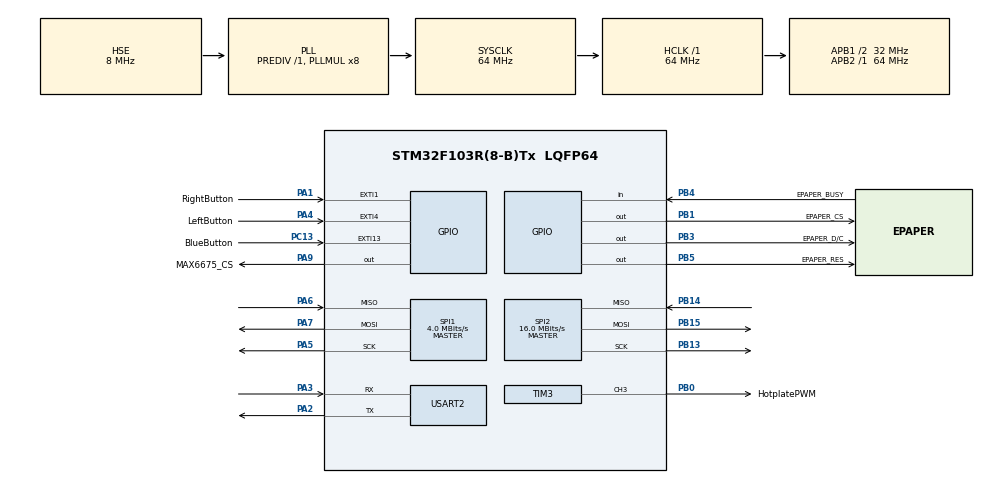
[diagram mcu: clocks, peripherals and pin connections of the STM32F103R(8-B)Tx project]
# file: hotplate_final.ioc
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ADC1.Channel-0\#ChannelRegularConversion=ADC_CHANNEL_VREFINT
ADC1.NbrOfConversionFlag=1
ADC1.Rank-0\#ChannelRegularConversion=1
ADC1.SamplingTime-0\#ChannelRegularConversion=ADC_SAMPLETIME_1CYCLE_5
ADC1.master=1
FREERTOS.BinarySemaphores01=console,Dynamic,NULL,Available
FREERTOS.Queues01=UARTin,11,uint8_t,0,Dynamic,NULL,NULL;UARTout,12,128,1,Dynamic,NULL,NULL;uptime,1,uint32_t,0,Dynamic,NULL,NULL;EpaperStatus,1,64,1,Dynamic,NULL,NULL;EpaperStatus2,1,64,1,Dynamic,NULL,NULL;EpaperStatus3,1,64,1,Dynamic,NULL,NULL
FREERTOS.Tasks01=UARTprint,8,256,StartUARTprint,Default,NULL,Dynamic,NULL,NULL;UARTinput,8,256,StartUARTinput,Default,NULL,Dynamic,NULL,NULL;Heartbeat,8,256,StartHeartbeat,Default,NULL,Dynamic,NULL,NULL;EpaperPrint,8,256,StartEpaperPrint,Default,NULL,Dynamic,NULL,NULL
FREERTOS.configTOTAL_HEAP_SIZE=9000
FREERTOS.configUSE_NEWLIB_REENTRANT=1
IWDG.Prescaler=IWDG_PRESCALER_64
IWDG.Reload=2500
Mcu.Family=STM32F1
Mcu.Name=STM32F103R(8-B)Tx
Mcu.Package=LQFP64
NVIC.EXTI15_10_IRQn=true\:5\:0\:false\:false\:true\:true\:true\:true\:true
NVIC.EXTI1_IRQn=true\:5\:0\:false\:false\:true\:true\:true\:true\:true
NVIC.EXTI4_IRQn=true\:5\:0\:false\:false\:true\:true\:true\:true\:true
NVIC.PriorityGroup=NVIC_PRIORITYGROUP_4
NVIC.TIM1_UP_IRQn=true\:15\:0\:false\:false\:true\:false\:false\:true\:true
NVIC.TIM2_IRQn=true\:5\:0\:false\:false\:true\:true\:true\:true\:true
NVIC.TimeBase=TIM1_UP_IRQn
NVIC.TimeBaseIP=TIM1
NVIC.USART2_IRQn=true\:5\:0\:false\:false\:true\:true\:true\:true\:true
PA1.GPIO_Label=RightButton
PA1.GPIO_ModeDefaultEXTI=GPIO_MODE_IT_RISING
PA1.GPIO_PuPd=GPIO_PULLUP
PA1.Signal=GPXTI1
PA13.Mode=Serial_Wire
PA13.Signal=SYS_JTMS-SWDIO
PA14.Mode=Serial_Wire
PA14.Signal=SYS_JTCK-SWCLK
PA2.Mode=Asynchronous
PA2.Signal=USART2_TX
PA3.Mode=Asynchronous
PA3.Signal=USART2_RX
PA4.GPIO_Label=LeftButton
PA4.GPIO_ModeDefaultEXTI=GPIO_MODE_IT_RISING
PA4.GPIO_PuPd=GPIO_PULLUP
PA4.Signal=GPXTI4
PA5.Mode=Full_Duplex_Master
PA5.Signal=SPI1_SCK
PA6.Mode=Full_Duplex_Master
PA6.Signal=SPI1_MISO
PA7.Mode=Full_Duplex_Master
PA7.Signal=SPI1_MOSI
PA9.GPIO_Label=MAX6675_CS
PA9.GPIO_PuPd=GPIO_PULLUP
PA9.GPIO_Speed=GPIO_SPEED_FREQ_HIGH
PA9.Signal=GPIO_Output
PB0.GPIO_Label=HotplatePWM
PB0.GPIO_Speed=GPIO_SPEED_FREQ_HIGH
PB0.Signal=S_TIM3_CH3
PB1.GPIO_Label=EPAPER_CS
PB1.GPIO_PuPd=GPIO_PULLUP
PB1.GPIO_Speed=GPIO_SPEED_FREQ_HIGH
PB1.Signal=GPIO_Output
PB13.Mode=Full_Duplex_Master
PB13.Signal=SPI2_SCK
PB14.Mode=Full_Duplex_Master
PB14.Signal=SPI2_MISO
PB15.Mode=Full_Duplex_Master
PB15.Signal=SPI2_MOSI
PB3.GPIO_Label=EPAPER_D/C
PB3.GPIO_PuPd=GPIO_PULLUP
PB3.GPIO_Speed=GPIO_SPEED_FREQ_HIGH
PB3.Signal=GPIO_Output
PB4.GPIO_Label=EPAPER_BUSY
PB4.GPIO_PuPd=GPIO_PULLUP
PB4.Signal=GPIO_Input
PB5.GPIO_Label=EPAPER_RES
PB5.GPIO_PuPd=GPIO_PULLUP
PB5.GPIO_Speed=GPIO_SPEED_FREQ_HIGH
PB5.Signal=GPIO_Output
PC13-TAMPER-RTC.GPIO_Label=BlueButton
PC13-TAMPER-RTC.GPIO_ModeDefaultEXTI=GPIO_MODE_IT_FALLING
PC13-TAMPER-RTC.GPIO_PuPd=GPIO_PULLUP
PC13-TAMPER-RTC.Signal=GPXTI13
PC14-OSC32_IN.Mode=LSE-External-Oscillator
PC14-OSC32_IN.Signal=RCC_OSC32_IN
PC15-OSC32_OUT.Mode=LSE-External-Oscillator
PC15-OSC32_OUT.Signal=RCC_OSC32_OUT
PD0-OSC_IN.Mode=HSE-External-Oscillator
PD0-OSC_IN.Signal=RCC_OSC_IN
PD1-OSC_OUT.Mode=HSE-External-Oscillator
PD1-OSC_OUT.Signal=RCC_OSC_OUT
ProjectManager.HeapSize=0x200
ProjectManager.StackSize=0x400
ProjectManager.TargetToolchain=STM32CubeIDE
RCC.ADCPresc=RCC_ADCPCLK2_DIV6
RCC.AHBFreq_Value=64000000
RCC.APB1CLKDivider=RCC_HCLK_DIV2
RCC.APB1Freq_Value=32000000
RCC.APB1TimFreq_Value=64000000
RCC.APB2Freq_Value=64000000
RCC.APB2TimFreq_Value=64000000
RCC.HCLKFreq_Value=64000000
RCC.PLLMUL=RCC_PLL_MUL8
RCC.PLLSourceVirtual=RCC_PLLSOURCE_HSE
RCC.SYSCLKFreq_VALUE=64000000
RCC.SYSCLKSource=RCC_SYSCLKSOURCE_PLLCLK
RCC.USBFreq_Value=64000000
SH.S_TIM3_CH3.0=TIM3_CH3,PWM Generation3 CH3
SPI1.BaudRatePrescaler=SPI_BAUDRATEPRESCALER_16
SPI1.CalculateBaudRate=4.0 MBits/s
SPI1.Direction=SPI_DIRECTION_2LINES
SPI1.Mode=SPI_MODE_MASTER
SPI1.VirtualType=VM_MASTER
SPI2.BaudRatePrescaler=SPI_BAUDRATEPRESCALER_2
SPI2.CLKPhase=SPI_PHASE_2EDGE
SPI2.CLKPolarity=SPI_POLARITY_HIGH
SPI2.CalculateBaudRate=16.0 MBits/s
SPI2.Direction=SPI_DIRECTION_2LINES
SPI2.Mode=SPI_MODE_MASTER
SPI2.VirtualType=VM_MASTER
TIM2.Period=499
TIM2.Prescaler=63999
TIM3.Channel-PWM\ Generation3\ CH3=TIM_CHANNEL_3
TIM3.Period=499
TIM3.Prescaler=63999
USART2.VirtualMode=VM_ASYNC
VP_ADC1_TempSens_Input.Mode=IN-TempSens
VP_ADC1_Vref_Input.Mode=IN-Vrefint
VP_FREERTOS_VS_CMSIS_V2.Mode=CMSIS_V2
VP_IWDG_VS_IWDG.Mode=IWDG_Activate
VP_SYS_VS_tim1.Mode=TIM1
VP_TIM2_VS_ClockSourceINT.Mode=Internal
VP_TIM3_VS_ClockSourceINT.Mode=Internal
board=custom

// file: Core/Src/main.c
/* USER CODE BEGIN Header */
/**
 * @file main.c
 * @brief Main entry point and application control.
 *
 * This file serves as the primary entry point for the application. It is responsible for:
 * - Initializing hardware and peripherals (e.g., UART, ADC, timers, GPIOs).
 * - Setting up the operating system (e.g., thread creation, message queues, semaphores).
 * - Providing callbacks for hardware interrupts and timer events.
 * - Launching the main application loops and managing system tasks such as heartbeat,
 *   e-paper display updates, and UART communication.
 *
 * The application is developed for an STM32 microcontroller using CubeIDE. It integrates
 * multiple modules, including CLI for user interaction, ADC for sensor readings, e-paper display
 * for output, and a simple neural control for managing heater duty cycles.
 *
 * @note Ensure that all peripheral initializations and system tasks are appropriately
 *       configured before entering the main loop.
 *
 * Hardware connections:
 * - **Left Button:** GPIO (PA4)
 * - **Right Button:** GPIO (PA1)
 * - **GND:** Ground
 *
 * @author Matthew Ross 200265265
 *
 * @version 1.0
 * @date    17apr2025
 */
/* USER CODE END Header */
#include "main.h"
#include "cmsis_os.h"

/* USER CODE BEGIN Includes */
#include "cli.h"    // console, heartbeat, status, myprintf
#include "string.h" // strlen in UARTprint task
#include "epaper.h" // epaper print
#include "epaper_ctl.h" // epaper print
/* USER CODE END Includes */

ADC_HandleTypeDef hadc1;

IWDG_HandleTypeDef hiwdg;

SPI_HandleTypeDef hspi1;
SPI_HandleTypeDef hspi2;

TIM_HandleTypeDef htim2;
TIM_HandleTypeDef htim3;

UART_HandleTypeDef huart2;

/* Definitions for UARTprint */
osThreadId_t UARTprintHandle;
const osThreadAttr_t UARTprint_attributes = {
  .name = "UARTprint",
  .stack_size = 256 * 4,
  .priority = (osPriority_t) osPriorityLow,
};
/* Definitions for UARTinput */
osThreadId_t UARTinputHandle;
const osThreadAttr_t UARTinput_attributes = {
  .name = "UARTinput",
  .stack_size = 256 * 4,
  .priority = (osPriority_t) osPriorityLow,
};
/* Definitions for Heartbeat */
osThreadId_t HeartbeatHandle;
const osThreadAttr_t Heartbeat_attributes = {
  .name = "Heartbeat",
  .stack_size = 256 * 4,
  .priority = (osPriority_t) osPriorityLow,
};
/* Definitions for EpaperPrint */
osThreadId_t EpaperPrintHandle;
const osThreadAttr_t EpaperPrint_attributes = {
  .name = "EpaperPrint",
  .stack_size = 256 * 4,
  .priority = (osPriority_t) osPriorityLow,
};
/* Definitions for UARTin */
osMessageQueueId_t UARTinHandle;
const osMessageQueueAttr_t UARTin_attributes = {
  .name = "UARTin"
};
/* Definitions for UARTout */
osMessageQueueId_t UARToutHandle;
const osMessageQueueAttr_t UARTout_attributes = {
  .name = "UARTout"
};
/* Definitions for uptime */
osMessageQueueId_t uptimeHandle;
const osMessageQueueAttr_t uptime_attributes = {
  .name = "uptime"
};
/* Definitions for EpaperStatus */
osMessageQueueId_t EpaperStatusHandle;
const osMessageQueueAttr_t EpaperStatus_attributes = {
  .name = "EpaperStatus"
};
/* Definitions for EpaperStatus2 */
osMessageQueueId_t EpaperStatus2Handle;
const osMessageQueueAttr_t EpaperStatus2_attributes = {
  .name = "EpaperStatus2"
};
/* Definitions for EpaperStatus3 */
osMessageQueueId_t EpaperStatus3Handle;
const osMessageQueueAttr_t EpaperStatus3_attributes = {
  .name = "EpaperStatus3"
};
/* Definitions for console */
osSemaphoreId_t consoleHandle;
const osSemaphoreAttr_t console_attributes = {
  .name = "console"
};
/* USER CODE BEGIN PV */

uint8_t input;                // Store received character
uint8_t uptime = 0;           // Store uptime counter
uint8_t minutes = 0;          // Store uptime minutes counter
uint8_t hours = 0;            // Store uptime hours counter
uint16_t days = 0;            // Store uptime days counter
uint8_t target = 0;           // Hotplate target temperature
extern uint8_t image_bw[EPD_W_BUFF_SIZE * EPD_H];
extern uint8_t clearPaper;

/* USER CODE END PV */

void SystemClock_Config(void);
static void MX_GPIO_Init(void);
static void MX_TIM2_Init(void);
static void MX_USART2_UART_Init(void);
static void MX_ADC1_Init(void);
static void MX_SPI1_Init(void);
static void MX_SPI2_Init(void);
static void MX_TIM3_Init(void);
static void MX_IWDG_Init(void);
void StartUARTprint(void *argument);
void StartUARTinput(void *argument);
void StartHeartbeat(void *argument);
void StartEpaperPrint(void *argument);

int main(void)
{

  /* MCU Configuration--------------------------------------------------------*/

  /* Reset of all peripherals, Initializes the Flash interface and the Systick. */
  HAL_Init();

  /* Configure the system clock */
  SystemClock_Config();

  /* Initialize all configured peripherals */
  MX_GPIO_Init();
  MX_TIM2_Init();
  MX_USART2_UART_Init();
  MX_ADC1_Init();
  MX_SPI1_Init();
  MX_SPI2_Init();
  MX_TIM3_Init();
  MX_IWDG_Init();

  /* Init scheduler */
  osKernelInitialize();

  /* Create the semaphores(s) */
  /* creation of console */
  consoleHandle = osSemaphoreNew(1, 1, &console_attributes);

  /* Create the queue(s) */
  /* creation of UARTin */
  UARTinHandle = osMessageQueueNew (11, sizeof(uint8_t), &UARTin_attributes);

  /* creation of UARTout */
  UARToutHandle = osMessageQueueNew (12, 128, &UARTout_attributes);

  /* creation of uptime */
  uptimeHandle = osMessageQueueNew (1, sizeof(uint32_t), &uptime_attributes);

  /* creation of EpaperStatus */
  EpaperStatusHandle = osMessageQueueNew (1, 64, &EpaperStatus_attributes);

  /* creation of EpaperStatus2 */
  EpaperStatus2Handle = osMessageQueueNew (1, 64, &EpaperStatus2_attributes);

  /* creation of EpaperStatus3 */
  EpaperStatus3Handle = osMessageQueueNew (1, 64, &EpaperStatus3_attributes);

  /* Create the thread(s) */
  /* creation of UARTprint */
  UARTprintHandle = osThreadNew(StartUARTprint, NULL, &UARTprint_attributes);

  /* creation of UARTinput */
  UARTinputHandle = osThreadNew(StartUARTinput, NULL, &UARTinput_attributes);

  /* creation of Heartbeat */
  HeartbeatHandle = osThreadNew(StartHeartbeat, NULL, &Heartbeat_attributes);

  /* creation of EpaperPrint */
  EpaperPrintHandle = osThreadNew(StartEpaperPrint, NULL, &EpaperPrint_attributes);

  /* Start scheduler */
  osKernelStart();

  /* We should never get here as control is now taken by the scheduler */

  /* Infinite loop */
  while (1) {

  }
}

void SystemClock_Config(void)
{
  RCC_OscInitTypeDef RCC_OscInitStruct = {0};
  RCC_ClkInitTypeDef RCC_ClkInitStruct = {0};
  RCC_PeriphCLKInitTypeDef PeriphClkInit = {0};

  /** Initializes the RCC Oscillators according to the specified parameters
  * in the RCC_OscInitTypeDef structure.
  */
  RCC_OscInitStruct.OscillatorType = RCC_OSCILLATORTYPE_LSI|RCC_OSCILLATORTYPE_HSE;
  RCC_OscInitStruct.HSEState = RCC_HSE_ON;
  RCC_OscInitStruct.HSEPredivValue = RCC_HSE_PREDIV_DIV1;
  RCC_OscInitStruct.HSIState = RCC_HSI_ON;
  RCC_OscInitStruct.LSIState = RCC_LSI_ON;
  RCC_OscInitStruct.PLL.PLLState = RCC_PLL_ON;
  RCC_OscInitStruct.PLL.PLLSource = RCC_PLLSOURCE_HSE;
  RCC_OscInitStruct.PLL.PLLMUL = RCC_PLL_MUL8;
  if (HAL_RCC_OscConfig(&RCC_OscInitStruct) != HAL_OK)
  {
    Error_Handler();
  }

  /** Initializes the CPU, AHB and APB buses clocks
  */
  RCC_ClkInitStruct.ClockType = RCC_CLOCKTYPE_HCLK|RCC_CLOCKTYPE_SYSCLK
                              |RCC_CLOCKTYPE_PCLK1|RCC_CLOCKTYPE_PCLK2;
  RCC_ClkInitStruct.SYSCLKSource = RCC_SYSCLKSOURCE_PLLCLK;
  RCC_ClkInitStruct.AHBCLKDivider = RCC_SYSCLK_DIV1;
  RCC_ClkInitStruct.APB1CLKDivider = RCC_HCLK_DIV2;
  RCC_ClkInitStruct.APB2CLKDivider = RCC_HCLK_DIV1;

  if (HAL_RCC_ClockConfig(&RCC_ClkInitStruct, FLASH_LATENCY_2) != HAL_OK)
  {
    Error_Handler();
  }
  PeriphClkInit.PeriphClockSelection = RCC_PERIPHCLK_ADC;
  PeriphClkInit.AdcClockSelection = RCC_ADCPCLK2_DIV6;
  if (HAL_RCCEx_PeriphCLKConfig(&PeriphClkInit) != HAL_OK)
  {
    Error_Handler();
  }
}

static void MX_ADC1_Init(void)
{

  ADC_ChannelConfTypeDef sConfig = {0};

  /** Common config
  */
  hadc1.Instance = ADC1;
  hadc1.Init.ScanConvMode = ADC_SCAN_DISABLE;
  hadc1.Init.ContinuousConvMode = DISABLE;
  hadc1.Init.DiscontinuousConvMode = DISABLE;
  hadc1.Init.ExternalTrigConv = ADC_SOFTWARE_START;
  hadc1.Init.DataAlign = ADC_DATAALIGN_RIGHT;
  hadc1.Init.NbrOfConversion = 1;
  if (HAL_ADC_Init(&hadc1) != HAL_OK)
  {
    Error_Handler();
  }

  /** Configure Regular Channel
  */
  sConfig.Channel = ADC_CHANNEL_VREFINT;
  sConfig.Rank = ADC_REGULAR_RANK_1;
  sConfig.SamplingTime = ADC_SAMPLETIME_1CYCLE_5;
  if (HAL_ADC_ConfigChannel(&hadc1, &sConfig) != HAL_OK)
  {
    Error_Handler();
  }

}

static void MX_IWDG_Init(void)
{

  hiwdg.Instance = IWDG;
  hiwdg.Init.Prescaler = IWDG_PRESCALER_64;
  hiwdg.Init.Reload = 2500;
  if (HAL_IWDG_Init(&hiwdg) != HAL_OK)
  {
    Error_Handler();
  }

}

static void MX_SPI1_Init(void)
{

  /* SPI1 parameter configuration*/
  hspi1.Instance = SPI1;
  hspi1.Init.Mode = SPI_MODE_MASTER;
  hspi1.Init.Direction = SPI_DIRECTION_2LINES;
  hspi1.Init.DataSize = SPI_DATASIZE_8BIT;
  hspi1.Init.CLKPolarity = SPI_POLARITY_LOW;
  hspi1.Init.CLKPhase = SPI_PHASE_1EDGE;
  hspi1.Init.NSS = SPI_NSS_SOFT;
  hspi1.Init.BaudRatePrescaler = SPI_BAUDRATEPRESCALER_16;
  hspi1.Init.FirstBit = SPI_FIRSTBIT_MSB;
  hspi1.Init.TIMode = SPI_TIMODE_DISABLE;
  hspi1.Init.CRCCalculation = SPI_CRCCALCULATION_DISABLE;
  hspi1.Init.CRCPolynomial = 10;
  if (HAL_SPI_Init(&hspi1) != HAL_OK)
  {
    Error_Handler();
  }

}

static void MX_SPI2_Init(void)
{

  /* SPI2 parameter configuration*/
  hspi2.Instance = SPI2;
  hspi2.Init.Mode = SPI_MODE_MASTER;
  hspi2.Init.Direction = SPI_DIRECTION_2LINES;
  hspi2.Init.DataSize = SPI_DATASIZE_8BIT;
  hspi2.Init.CLKPolarity = SPI_POLARITY_HIGH;
  hspi2.Init.CLKPhase = SPI_PHASE_2EDGE;
  hspi2.Init.NSS = SPI_NSS_SOFT;
  hspi2.Init.BaudRatePrescaler = SPI_BAUDRATEPRESCALER_2;
  hspi2.Init.FirstBit = SPI_FIRSTBIT_MSB;
  hspi2.Init.TIMode = SPI_TIMODE_DISABLE;
  hspi2.Init.CRCCalculation = SPI_CRCCALCULATION_DISABLE;
  hspi2.Init.CRCPolynomial = 10;
  if (HAL_SPI_Init(&hspi2) != HAL_OK)
  {
    Error_Handler();
  }

}

static void MX_TIM2_Init(void)
{

  TIM_ClockConfigTypeDef sClockSourceConfig = {0};
  TIM_MasterConfigTypeDef sMasterConfig = {0};

  htim2.Instance = TIM2;
  htim2.Init.Prescaler = 63999;
  htim2.Init.CounterMode = TIM_COUNTERMODE_UP;
  htim2.Init.Period = 499;
  htim2.Init.ClockDivision = TIM_CLOCKDIVISION_DIV1;
  htim2.Init.AutoReloadPreload = TIM_AUTORELOAD_PRELOAD_DISABLE;
  if (HAL_TIM_Base_Init(&htim2) != HAL_OK)
  {
    Error_Handler();
  }
  sClockSourceConfig.ClockSource = TIM_CLOCKSOURCE_INTERNAL;
  if (HAL_TIM_ConfigClockSource(&htim2, &sClockSourceConfig) != HAL_OK)
  {
    Error_Handler();
  }
  sMasterConfig.MasterOutputTrigger = TIM_TRGO_RESET;
  sMasterConfig.MasterSlaveMode = TIM_MASTERSLAVEMODE_DISABLE;
  if (HAL_TIMEx_MasterConfigSynchronization(&htim2, &sMasterConfig) != HAL_OK)
  {
    Error_Handler();
  }
  /* USER CODE BEGIN TIM2_Init 2 */
  HAL_TIM_Base_Start_IT(&htim2);
  /* USER CODE END TIM2_Init 2 */

}

static void MX_TIM3_Init(void)
{

  TIM_ClockConfigTypeDef sClockSourceConfig = {0};
  TIM_MasterConfigTypeDef sMasterConfig = {0};
  TIM_OC_InitTypeDef sConfigOC = {0};

  htim3.Instance = TIM3;
  htim3.Init.Prescaler = 63999;
  htim3.Init.CounterMode = TIM_COUNTERMODE_UP;
  htim3.Init.Period = 499;
  htim3.Init.ClockDivision = TIM_CLOCKDIVISION_DIV1;
  htim3.Init.AutoReloadPreload = TIM_AUTORELOAD_PRELOAD_DISABLE;
  if (HAL_TIM_Base_Init(&htim3) != HAL_OK)
  {
    Error_Handler();
  }
  sClockSourceConfig.ClockSource = TIM_CLOCKSOURCE_INTERNAL;
  if (HAL_TIM_ConfigClockSource(&htim3, &sClockSourceConfig) != HAL_OK)
  {
    Error_Handler();
  }
  if (HAL_TIM_PWM_Init(&htim3) != HAL_OK)
  {
    Error_Handler();
  }
  sMasterConfig.MasterOutputTrigger = TIM_TRGO_RESET;
  sMasterConfig.MasterSlaveMode = TIM_MASTERSLAVEMODE_DISABLE;
  if (HAL_TIMEx_MasterConfigSynchronization(&htim3, &sMasterConfig) != HAL_OK)
  {
    Error_Handler();
  }
  sConfigOC.OCMode = TIM_OCMODE_PWM1;
  sConfigOC.Pulse = 0;
  sConfigOC.OCPolarity = TIM_OCPOLARITY_HIGH;
  sConfigOC.OCFastMode = TIM_OCFAST_DISABLE;
  if (HAL_TIM_PWM_ConfigChannel(&htim3, &sConfigOC, TIM_CHANNEL_3) != HAL_OK)
  {
    Error_Handler();
  }
  HAL_TIM_MspPostInit(&htim3);

}

static void MX_USART2_UART_Init(void)
{

  huart2.Instance = USART2;
  huart2.Init.BaudRate = 115200;
  huart2.Init.WordLength = UART_WORDLENGTH_8B;
  huart2.Init.StopBits = UART_STOPBITS_1;
  huart2.Init.Parity = UART_PARITY_NONE;
  huart2.Init.Mode = UART_MODE_TX_RX;
  huart2.Init.HwFlowCtl = UART_HWCONTROL_NONE;
  huart2.Init.OverSampling = UART_OVERSAMPLING_16;
  if (HAL_UART_Init(&huart2) != HAL_OK)
  {
    Error_Handler();
  }
  /* USER CODE BEGIN USART2_Init 2 */
  HAL_UART_Receive_IT(&huart2, &input, 1); // Start listening for interrupt
  /* USER CODE END USART2_Init 2 */

}

static void MX_GPIO_Init(void)
{
  GPIO_InitTypeDef GPIO_InitStruct = {0};

  /* GPIO Ports Clock Enable */
  __HAL_RCC_GPIOC_CLK_ENABLE();
  __HAL_RCC_GPIOD_CLK_ENABLE();
  __HAL_RCC_GPIOA_CLK_ENABLE();
  __HAL_RCC_GPIOB_CLK_ENABLE();

  /*Configure GPIO pin Output Level */
  HAL_GPIO_WritePin(GPIOB, EPAPER_CS_Pin|EPAPER_D_C_Pin|EPAPER_RES_Pin, GPIO_PIN_RESET);

  /*Configure GPIO pin Output Level */
  HAL_GPIO_WritePin(MAX6675_CS_GPIO_Port, MAX6675_CS_Pin, GPIO_PIN_RESET);

  /*Configure GPIO pin : BlueButton_Pin */
  GPIO_InitStruct.Pin = BlueButton_Pin;
  GPIO_InitStruct.Mode = GPIO_MODE_IT_FALLING;
  GPIO_InitStruct.Pull = GPIO_PULLUP;
  HAL_GPIO_Init(BlueButton_GPIO_Port, &GPIO_InitStruct);

  /*Configure GPIO pins : RightButton_Pin LeftButton_Pin */
  GPIO_InitStruct.Pin = RightButton_Pin|LeftButton_Pin;
  GPIO_InitStruct.Mode = GPIO_MODE_IT_RISING;
  GPIO_InitStruct.Pull = GPIO_PULLUP;
  HAL_GPIO_Init(GPIOA, &GPIO_InitStruct);

  /*Configure GPIO pins : EPAPER_CS_Pin EPAPER_D_C_Pin EPAPER_RES_Pin */
  GPIO_InitStruct.Pin = EPAPER_CS_Pin|EPAPER_D_C_Pin|EPAPER_RES_Pin;
  GPIO_InitStruct.Mode = GPIO_MODE_OUTPUT_PP;
  GPIO_InitStruct.Pull = GPIO_PULLUP;
  GPIO_InitStruct.Speed = GPIO_SPEED_FREQ_HIGH;
  HAL_GPIO_Init(GPIOB, &GPIO_InitStruct);

  /*Configure GPIO pin : MAX6675_CS_Pin */
  GPIO_InitStruct.Pin = MAX6675_CS_Pin;
  GPIO_InitStruct.Mode = GPIO_MODE_OUTPUT_PP;
  GPIO_InitStruct.Pull = GPIO_PULLUP;
  GPIO_InitStruct.Speed = GPIO_SPEED_FREQ_HIGH;
  HAL_GPIO_Init(MAX6675_CS_GPIO_Port, &GPIO_InitStruct);

  /*Configure GPIO pin : EPAPER_BUSY_Pin */
  GPIO_InitStruct.Pin = EPAPER_BUSY_Pin;
  GPIO_InitStruct.Mode = GPIO_MODE_INPUT;
  GPIO_InitStruct.Pull = GPIO_PULLUP;
  HAL_GPIO_Init(EPAPER_BUSY_GPIO_Port, &GPIO_InitStruct);

  /* EXTI interrupt init*/
  HAL_NVIC_SetPriority(EXTI1_IRQn, 5, 0);
  HAL_NVIC_EnableIRQ(EXTI1_IRQn);

  HAL_NVIC_SetPriority(EXTI4_IRQn, 5, 0);
  HAL_NVIC_EnableIRQ(EXTI4_IRQn);

  HAL_NVIC_SetPriority(EXTI15_10_IRQn, 5, 0);
  HAL_NVIC_EnableIRQ(EXTI15_10_IRQn);

}

/* USER CODE BEGIN 4 */

/**
 * @brief UART Reception Complete Callback.
 *
 * This callback is invoked by the HAL when a complete UART reception interrupt occurs.
 * When the function is called with a UART handle corresponding to USART2, it places the
 * received character (stored in a global variable, e.g. `input`) into the UART input
 * message queue, then reinitiates the UART reception interrupt.
 *
 * @param huart Pointer to the UART handle structure.
 */
void HAL_UART_RxCpltCallback(UART_HandleTypeDef *huart) {
  if (huart->Instance == USART2) {
    osMessageQueuePut(UARTinHandle, &input, 0, 0); // Send received character to the queue
    HAL_UART_Receive_IT(&huart2, &input, 1); // Reset interrupt
  }
}

/**
 * @brief GPIO EXTI (External Interrupt) Callback.
 *
 * This callback is triggered when an external GPIO interrupt occurs. This example uses
 * interrupts on specific pins to adjust a target value. If the interrupt is from GPIO_PIN_1
 * the target is increased by 10°C. Conversely, for GPIO_PIN_4, the target is
 * decreased by 10°C.
 *
 * @param GPIO_Pin The pin number that generated the interrupt.
 */
void HAL_GPIO_EXTI_Callback(uint16_t GPIO_Pin) {
  if (GPIO_Pin == GPIO_PIN_1) {
    if (target <= 240)
      target += 10;
  } else if (GPIO_Pin == GPIO_PIN_4) {
    if ((target >= 10))
      target -= 10;
  }
//	if (GPIO_Pin == GPIO_PIN_13) { // Button press interrupt
//		myprintf("\r\n  You pressed the blue button.\r\n>> ");
//	}
}

/* USER CODE END 4 */

/* USER CODE BEGIN Header_StartUARTprint */

/**
 * @brief Thread function for UART print.
 *
 * This function implements the UARTprint thread. It continuously waits for a character
 * string from the UART output message queue, then transmits the received buffer over the UART.
 * A short delay is added in each loop iteration to yield control.
 *
 * @param argument Not used.
 * @retval None.
 */
/* USER CODE END Header_StartUARTprint */
void StartUARTprint(void *argument)
{
  /* USER CODE BEGIN 5 */
  char buffer[128]; // Buffer for console print
  /* Infinite loop */
  for (;;) {
    if (osMessageQueueGet(UARToutHandle, &buffer, NULL, osWaitForever) == osOK) // Wait for a character from the queue
      HAL_UART_Transmit(&huart2, (uint8_t*) buffer, strlen(buffer),
      HAL_MAX_DELAY); // Transmit buffer over UART
    osDelay(1);
  }
  /* USER CODE END 5 */
}

/* USER CODE BEGIN Header_StartUARTinput */

/**
 * @brief Thread function for UART input.
 *
 * This function implements the UARTinput thread. It continuously waits for a received
 * character from the UART input message queue and then passes that character to the
 * console_UART() function for processing.
 *
 * @param argument Not used.
 * @retval None.
 */
/* USER CODE END Header_StartUARTinput */
void StartUARTinput(void *argument)
{
  /* USER CODE BEGIN StartUARTinput */
  uint8_t input;
  /* Infinite loop */
  for (;;) {
    if (osMessageQueueGet(UARTinHandle, &input, NULL, osWaitForever) == osOK) // Wait for a character from the queue
      console_UART(input);
    osDelay(1);
  }
  /* USER CODE END StartUARTinput */
}

/* USER CODE BEGIN Header_StartHeartbeat */

/**
 * @brief Thread function for system heartbeat.
 *
 * This function implements the Heartbeat thread. On startup, it acquires a semaphore
 * to safely update and display the system status. It then starts the PWM for controlling
 * the hotplate output. Inside the main loop, it waits for an uptime value from a message queue
 * and calls the heartbeat() function to update the system’s heartbeat routine.
 *
 * @param argument Not used.
 * @retval None.
 */
/* USER CODE END Header_StartHeartbeat */
void StartHeartbeat(void *argument)
{
  /* USER CODE BEGIN StartHeartbeat */
  uint32_t uptime;
  if (osSemaphoreAcquire(consoleHandle, osWaitForever) == osOK) {
    status(); // Clear all and draw status window
    myprintf(">> ");
    osSemaphoreRelease(consoleHandle);
  }
  HAL_TIM_PWM_Start(&htim3, TIM_CHANNEL_3); // Hotplate output
  /* Infinite loop */
  for (;;) {
    if (osMessageQueueGet(uptimeHandle, &uptime, NULL, osWaitForever) == osOK) // Wait for uptime from the queue
      heartbeat();
    osDelay(1);
  }
  /* USER CODE END StartHeartbeat */
}

/* USER CODE BEGIN Header_StartEpaperPrint */

/**
 * @brief Thread function for updating the e-paper display.
 *
 * This function implements the EpaperPrint thread. It first checks whether the e-paper needs to
 * be cleared (using the flag `clearPaper`) and initializes it if required. Then, it waits for
 * status messages from three separate message queues to update different sections of the e-paper.
 * After updating the image buffer, it issues a partial update command so that only changed content is redrawn.
 *
 * @param argument Not used.
 * @retval None.
 */
/* USER CODE END Header_StartEpaperPrint */
void StartEpaperPrint(void *argument)
{
  /* USER CODE BEGIN StartEpaperPrint */
//	osDelay(100);
  char displayBuffer[64]; // Buffer for formatted output to epaper
  /* Infinite loop */
  for (;;) {
    if (clearPaper == 1) {
      epaper_start();
      clearPaper = 0;
    }
    if (osMessageQueueGet(EpaperStatusHandle, displayBuffer, NULL, osWaitForever) == osOK)
      epd_paint_showString(4, 42, (uint8_t*) displayBuffer, EPD_FONT_SIZE8x6, EPD_COLOR_BLACK); // Status for VDD, chip temp, and uptime
    if (osMessageQueueGet(EpaperStatus2Handle, displayBuffer, NULL, osWaitForever) == osOK)
      epd_paint_showString(4, 62, (uint8_t*) displayBuffer, EPD_FONT_SIZE24x12, EPD_COLOR_BLACK); // Status for target and now temp
    if (osMessageQueueGet(EpaperStatus3Handle, displayBuffer, NULL, osWaitForever) == osOK)
      epd_paint_showString(4, 86, (uint8_t*) displayBuffer, EPD_FONT_SIZE24x12, EPD_COLOR_BLACK); // Status for heater

    epd_displayBW_partial(image_bw); // Print to the epaper
    osDelay(1);
  }
  /* USER CODE END StartEpaperPrint */
}

/**
 * @brief Timer period elapsed callback.
 *
 * This callback is invoked by the HAL when a timer period elapses.
 * When TIM1 generates an interrupt, the system tick is incremented via HAL_IncTick().
 * Additionally, when TIM2 generates an interrupt, the uptime counter is incremented, and
 * time-related variables (uptime, minutes, hours, days) are updated accordingly. Finally, the updated
 * uptime is sent to a message queue for further processing.
 *
 * @param htim Pointer to the TIM handle structure.
 * @retval None.
 */
void HAL_TIM_PeriodElapsedCallback(TIM_HandleTypeDef *htim)
{
  if (htim->Instance == TIM1)
  {
    HAL_IncTick();
  }
  /* USER CODE BEGIN Callback 1 */
  if (htim->Instance == TIM2) {
    uptime++; // Half-second ticks
    if (uptime == 120) {
      uptime = 0;
      minutes++;
    }
    if (minutes == 60) {
      minutes = 0;
      hours++;
    }
    if (hours == 24) {
      hours = 0;
      days++;
    }
    osMessageQueuePut(uptimeHandle, &uptime, 0, 0); // Send uptime to the queue
  }
  /* USER CODE END Callback 1 */
}

void Error_Handler(void)
{
  __disable_irq();
  while (1) {
  }
}
